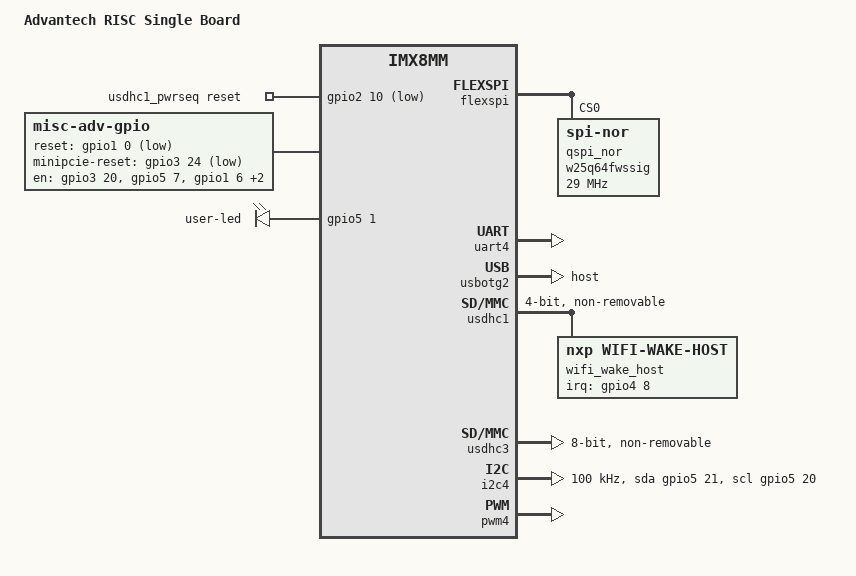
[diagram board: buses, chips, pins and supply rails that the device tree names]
// SPDX-License-Identifier: (GPL-2.0+ OR MIT)
/*
 * Copyright 2019-2020 NXP
 */

/dts-v1/;

#include <dt-bindings/usb/pd.h>
#include "imx8mm-ebcrs20-a1.dtsi"

/ {
	model = "Advantech RISC Single Board";
	compatible = "fsl,imx8mm-evk", "fsl,imx8mm";

	board {
		compatible = "proc-board";
		board-type = "ebc-rs20 A1";
		board-cpu = "IMX8MM";
	};

	aliases {
                rtc0 = &s35390a;
                rtc1 = &snvs_rtc;
	};

	// uart1_mod_reset: uart1-mod-reset {
	// 	compatible = "gpio-reset";
	// 	reset-gpios = <&gpio2 6 GPIO_ACTIVE_LOW>;
	// 	reset-delay-us = <2000>;
	// 	reset-post-delay-ms = <40>;
	// 	#reset-cells = <0>;
	// };

	// sd1_mod_reset: sd1-mod-reset {
	// 	compatible = "gpio-reset";
	// 	reset-gpios = <&gpio2 10 GPIO_ACTIVE_LOW>;
	// 	reset-delay-us = <2000>;
	// 	reset-post-delay-ms = <40>;
	// 	#reset-cells = <0>;
	// };

	// reg_sd1_vmmc: sd1_regulator {
	// 	compatible = "regulator-fixed";
	// 	regulator-name = "WLAN_EN";
	// 	regulator-min-microvolt = <3300000>;
	// 	regulator-max-microvolt = <3300000>;
	// 	gpio = <&gpio2 10 GPIO_ACTIVE_HIGH>;
	// 	off-on-delay-us = <20000>;
	// 	startup-delay-us = <100>;
	// 	enable-active-high;
	// };

	usdhc1_pwrseq: usdhc1_pwrseq {
		compatible = "mmc-pwrseq-simple";
		reset-gpios = <&gpio2 10 GPIO_ACTIVE_LOW>;
		post-power-on-delay-ms = <100>;
	};

	// reg_usb_otg1_vbus: regulator-vbus {
	// 	compatible = "regulator-fixed";
	// 	regulator-name = "usb_otg1_vbus";
	// 	regulator-min-microvolt = <5000000>;
	// 	regulator-max-microvolt = <5000000>;
	// 	gpio = <&gpio5 7 GPIO_ACTIVE_HIGH>;
	// 	enable-active-high;
	// };

        // sound {
        //         compatible = "fsl,sgtl5000",
        //                      "fsl,imx-audio-sgtl5000";
        //         model = "sgtl5000";
        //         codec-master;
        //         ssi-controller = <&sai1>;
        //         audio-codec = <&codec>;
        //         audio-routing =
        //                 "MIC_IN", "Mic Jack",
        //                 "Mic Jack", "Mic Bias",
        //                 "Headphone Jack", "HP_OUT";
        //         no-audmux;
        // };

	rt5640-sound0 {
		compatible = "simple-audio-card";
		simple-audio-card,format = "i2s";
		simple-audio-card,name = "nxp,rt5640-codec";
		simple-audio-card,mclk-fs = <512>;
		// simple-audio-card,mclk-fs = <256>;
		status = "okay";

		simple-audio-card,widgets =
			"Microphone", "Microphone Jack",
			"Headphone", "Headphone Jack";
		simple-audio-card,routing =
			"IN1P", "Microphone Jack",
			"Microphone Jack", "MICBIAS1",
			"Headphone Jack", "HPOL",
			"Headphone Jack", "HPOR";

		simple-audio-card,cpu {
			sound-dai = <&sai1>;
			bitclock-master;
			frame-master;
		};
		simple-audio-card,codec {
			sound-dai = <&rt5640_a0>;
		};
	};

        // uart3_mode:uart3-mode {
        //         compatible = "uart-mode";
        //         status = "okay";

        //         index = <2>;
        //         default_mode = <0>;//RS232
        //         rs232_mode_table = <1 0 1>;
        //         rs485_mode_table = <0 1 1>;

        //         sel0_gpio = <&gpio5 1 GPIO_ACTIVE_HIGH>;
        //         sel1_gpio = <&gpio5 4 GPIO_ACTIVE_HIGH>;
        //         term_gpio = <&gpio4 29 GPIO_ACTIVE_HIGH>;
        // };

	misc-adv-gpio {
		compatible = "misc-adv-gpio";
		pinctrl-names = "default";
		pinctrl-0 = <&adv_gpio_pinmux>;
		status = "okay";
		reset-gpios = <&gpio1 0 GPIO_ACTIVE_LOW>;
		reset-delay = <50>;
		minipcie-reset-gpio = <&gpio3 24 GPIO_ACTIVE_LOW>;
		en-gpios =<&gpio3 20 GPIO_ACTIVE_HIGH>,<&gpio5 7 GPIO_ACTIVE_HIGH>,
			    <&gpio1 6 GPIO_ACTIVE_HIGH>,<&gpio3 22 GPIO_ACTIVE_LOW>,<&gpio3 23 GPIO_ACTIVE_HIGH>;
		timing-interval = <300>;
	};

	leds {
		compatible = "gpio-leds";
        pinctrl-names = "default";
        pinctrl-0 = <&pinctrl_led>;

        led-user {
            label = "user-led";
            gpios = <&gpio5 1 GPIO_ACTIVE_HIGH>;
            default-state = "on";
        };
	};
};

&snvs_rtc {
	status = "disabled";
};

&flexspi {
	pinctrl-names = "default";
	pinctrl-0 = <&pinctrl_flexspi>;
	status = "okay";

	qspi_nor: w25q64fwssig@0 {
                reg = <0>;
                #address-cells = <1>;
                #size-cells = <1>;
                compatible = "jedec,spi-nor", "winbond,w25q64";
                spi-max-frequency = <29000000>;
                spi-nor,quad-read = <4>;
        };
};

&uart4 { /* M4 debug */
	pinctrl-names = "default";
	pinctrl-0 = <&pinctrl_uart4>;
	en-gpio = <&gpio5 6 GPIO_ACTIVE_HIGH>;
	status = "okay";
};

&usbotg2 {
	dr_mode = "host";

	status = "okay";
};

&usdhc1 { /* wifi bt */
	pinctrl-names = "default", "state_100mhz", "state_200mhz";
	pinctrl-0 = <&pinctrl_usdhc1>, <&pinctrl_usdhc1_gpio>;
	pinctrl-1 = <&pinctrl_usdhc1_100mhz>, <&pinctrl_usdhc1_gpio>;
	pinctrl-2 = <&pinctrl_usdhc1_200mhz>, <&pinctrl_usdhc1_gpio>;
	bus-width = <4>;
	// vmmc-supply = <&reg_sd1_vmmc>;
	// resets = <&sd1_mod_reset>;
	pm-ignore-notify;
	keep-power-in-suspend;
	non-removable;

	fsl,sdio-async-interrupt-enabled;
	wakeup-source;
	mmc-pwrseq = <&usdhc1_pwrseq>;
	keep-power-in-suspend;
	wifi-pwr-en-gpios = <&gpio4 1 GPIO_ACTIVE_HIGH>;
	wifi-pdn-gpios = <&gpio2 7 GPIO_ACTIVE_HIGH>;

	status = "okay";

	wifi_wake_host {
		compatible = "nxp,wifi-wake-host";
		interrupt-parent = <&gpio4>;
		interrupts = <8 IRQ_TYPE_LEVEL_LOW>;
		interrupt-names = "host-wake";
	};
};

&usdhc3 {
	assigned-clocks = <&clk IMX8MM_CLK_USDHC3_ROOT>;
	assigned-clock-rates = <400000000>;
	pinctrl-names = "default", "state_100mhz", "state_200mhz";
	pinctrl-0 = <&pinctrl_usdhc3>;
	pinctrl-1 = <&pinctrl_usdhc3_100mhz>;
	pinctrl-2 = <&pinctrl_usdhc3_200mhz>;
	bus-width = <8>;
	non-removable;
	cqe-disabled;
	status = "okay";
};

&i2c4 {
	clock-frequency = <100000>;
	pinctrl-names = "default", "gpio";
	pinctrl-0 = <&pinctrl_i2c4>;
	pinctrl-1 = <&pinctrl_i2c4_gpio>;
	scl-gpios = <&gpio5 20 GPIO_ACTIVE_HIGH>;
	sda-gpios = <&gpio5 21 GPIO_ACTIVE_HIGH>;
	status = "okay";

	// 24c32@50 {
    //             compatible = "atmel,24c32";
    //             reg = <0x50>;
    //     };
};

&pwm4 {
        status = "disabled";
        pinctrl-names = "default";
        pinctrl-0 = <&pinctrl_pwm4>;
		status = "okay";
};

&iomuxc {
        pinctrl_hog: hoggrp {
		fsl,pins = <
			MX8MM_IOMUXC_ECSPI2_MOSI_GPIO5_IO11		0x116	/* MAC_RXER */
			MX8MM_IOMUXC_SAI3_RXFS_GPIO4_IO28		0x116	/* VDD_1V8_EN */

			MX8MM_IOMUXC_SD1_STROBE_GPIO2_IO11	0x116	/* VDD_CORE_EN */
			MX8MM_IOMUXC_SAI1_RXFS_GPIO4_IO0	0x116	/* COLD_RST_EN */

			MX8MM_IOMUXC_UART1_TXD_GPIO5_IO23	0x116	/* USB_EN_D_OC */
			MX8MM_IOMUXC_UART2_RXD_GPIO5_IO24	0x116	/* HUB_RESET_GPIO */
			MX8MM_IOMUXC_UART2_TXD_GPIO5_IO25	0x116	/* +V12_EN */
			MX8MM_IOMUXC_ECSPI1_MISO_GPIO5_IO8	0x116	/* V3.3_EN_GPIO */
			MX8MM_IOMUXC_ECSPI1_SS0_GPIO5_IO9	0x116	/* CAN_RST# */
			MX8MM_IOMUXC_GPIO1_IO01_GPIO1_IO1	0x116	/* USB_5V_C_EN */
			MX8MM_IOMUXC_GPIO1_IO05_GPIO1_IO5	0x116	/* WAKE_INT */

			// MX8MM_IOMUXC_SAI1_TXD1_GPIO4_IO13	0x116	/* SAI1_TXD1 BOOT_CFG9 */
			// MX8MM_IOMUXC_SAI1_TXD2_GPIO4_IO14	0x116	/* SAI1_TXD2 BOOT_CFG10 */
			// MX8MM_IOMUXC_SAI1_TXD3_GPIO4_IO15	0x116	/* SAI1_TXD3 BOOT_CFG11 */
			// MX8MM_IOMUXC_SAI1_TXD4_GPIO4_IO16	0x116	/* SAI1_TXD4 BOOT_CFG12 */
			// MX8MM_IOMUXC_SAI1_TXD6_GPIO4_IO18	0x116	/* SAI1_TXD6 BOOT_CFG14 */
			// MX8MM_IOMUXC_SAI1_RXD1_GPIO4_IO3	0x116	/* SAI1_RXD1 BOOT_CFG1 */
			// MX8MM_IOMUXC_SAI1_RXD2_GPIO4_IO4	0x116	/* SAI1_RXD2 BOOT_CFG2 */
			// MX8MM_IOMUXC_SAI1_RXD3_GPIO4_IO5	0x116	/* SAI1_RXD3 BOOT_CFG3 */
			// MX8MM_IOMUXC_SAI1_RXD5_GPIO4_IO7	0x116	/* SAI1_RXD5 BOOT_CFG5 */

			MX8MM_IOMUXC_GPIO1_IO12_GPIO1_IO12	0x19		/* GPIO1_R */
			MX8MM_IOMUXC_GPIO1_IO14_GPIO1_IO14	0x19		/* GPIO2_R */
		>;
	};

	pinctrl_i2c4: i2c4grp {
		fsl,pins = <
			MX8MM_IOMUXC_I2C4_SCL_I2C4_SCL			0x400001c3	/* I2C_GP_CK */
			MX8MM_IOMUXC_I2C4_SDA_I2C4_SDA			0x400001c3	/* I2C_GP_DAT */
		>;
	};

	pinctrl_i2c4_gpio: i2c4_gpio_grp {
		fsl,pins = <
			MX8MM_IOMUXC_I2C4_SCL_GPIO5_IO20		0x19
			MX8MM_IOMUXC_I2C4_SDA_GPIO5_IO21		0x19
		>;
	};

	pinctrl_uart4: uart4grp {
		fsl,pins = <
			MX8MM_IOMUXC_UART4_RXD_UART4_DCE_RX	0x140
			MX8MM_IOMUXC_UART4_TXD_UART4_DCE_TX	0x140
		>;
	};

	pinctrl_flexspi: flexspigrp {
		fsl,pins = <
			MX8MM_IOMUXC_NAND_ALE_QSPI_A_SCLK               0x1c2
			MX8MM_IOMUXC_NAND_CE0_B_QSPI_A_SS0_B            0x82
			MX8MM_IOMUXC_NAND_DATA00_QSPI_A_DATA0           0x82
			MX8MM_IOMUXC_NAND_DATA01_QSPI_A_DATA1           0x82
			MX8MM_IOMUXC_NAND_DATA02_QSPI_A_DATA2           0x82
			MX8MM_IOMUXC_NAND_DATA03_QSPI_A_DATA3           0x82
		>;
	};

	pinctrl_usdhc1_gpio: usdhc1grpgpio {
		fsl,pins = <
			MX8MM_IOMUXC_SD1_RESET_B_GPIO2_IO10		0x41	/* W_WLAN_RST_1V8 */
			MX8MM_IOMUXC_SD1_DATA7_GPIO2_IO9		0x41	/* W_BT_RST_1V8 */

			MX8MM_IOMUXC_SAI1_RXD6_GPIO4_IO8		0x41	/* W_BT/15.4_WAKE_OUT_1V8 */
			MX8MM_IOMUXC_SAI1_RXD4_GPIO4_IO6		0x41	/* W_BT/15.4_WAKE_IN_1V8 */
			MX8MM_IOMUXC_SAI1_TXD5_GPIO4_IO17		0x41	/* W_WLAN_WAKE_IN_1V8 */
			MX8MM_IOMUXC_SAI2_MCLK_GPIO4_IO27		0x41	/* W_WLAN_WAKE_OUT_1V8 */

			MX8MM_IOMUXC_SD1_DATA4_GPIO2_IO6		0x41	/* SD1_INT */

			MX8MM_IOMUXC_GPIO1_IO08_GPIO1_IO8		0x41    /* W_WCI-2_OUT_1V8 */
			MX8MM_IOMUXC_SAI2_TXD0_GPIO4_IO26		0x41    /* W_WCI-2_IN_1V8 */
			MX8MM_IOMUXC_SD1_DATA5_GPIO2_IO7		0x41    /* W_PDN_3V3 */

			MX8MM_IOMUXC_SAI1_RXC_GPIO4_IO1		    0x41	/* WIFI_PWR_EN */
			MX8MM_IOMUXC_SAI2_TXC_GPIO4_IO25	    0x41	/* W_VDD_1V8_EN */
		>;
	};

	pinctrl_usdhc1: usdhc1grp {
		fsl,pins = <
			MX8MM_IOMUXC_SD1_CLK_USDHC1_CLK		0x190
			MX8MM_IOMUXC_SD1_CMD_USDHC1_CMD		0x1d0
			MX8MM_IOMUXC_SD1_DATA0_USDHC1_DATA0	0x1d0
			MX8MM_IOMUXC_SD1_DATA1_USDHC1_DATA1	0x1d0
			MX8MM_IOMUXC_SD1_DATA2_USDHC1_DATA2	0x1d0
			MX8MM_IOMUXC_SD1_DATA3_USDHC1_DATA3	0x1d0
		>;
	};

	pinctrl_usdhc1_100mhz: usdhc1grp100mhz {
		fsl,pins = <
			MX8MM_IOMUXC_SD1_CLK_USDHC1_CLK		0x194
			MX8MM_IOMUXC_SD1_CMD_USDHC1_CMD		0x1d4
			MX8MM_IOMUXC_SD1_DATA0_USDHC1_DATA0	0x1d4
			MX8MM_IOMUXC_SD1_DATA1_USDHC1_DATA1	0x1d4
			MX8MM_IOMUXC_SD1_DATA2_USDHC1_DATA2	0x1d4
			MX8MM_IOMUXC_SD1_DATA3_USDHC1_DATA3	0x1d4
		>;
	};

	pinctrl_usdhc1_200mhz: usdhc1grp200mhz {
		fsl,pins = <
			MX8MM_IOMUXC_SD1_CLK_USDHC1_CLK		0x196
			MX8MM_IOMUXC_SD1_CMD_USDHC1_CMD		0x1d6
			MX8MM_IOMUXC_SD1_DATA0_USDHC1_DATA0	0x1d6
			MX8MM_IOMUXC_SD1_DATA1_USDHC1_DATA1	0x1d6
			MX8MM_IOMUXC_SD1_DATA2_USDHC1_DATA2	0x1d6
			MX8MM_IOMUXC_SD1_DATA3_USDHC1_DATA3	0x1d6
		>;
	};

	pinctrl_usdhc3: usdhc3grp {
		fsl,pins = <
			MX8MM_IOMUXC_NAND_WE_B_USDHC3_CLK		0x190	/* SD3_CLK */
			MX8MM_IOMUXC_NAND_WP_B_USDHC3_CMD		0x1d0	/* SD3_CMD */
			MX8MM_IOMUXC_NAND_DATA04_USDHC3_DATA0		0x1d0	/* SD3_DATA0 */
			MX8MM_IOMUXC_NAND_DATA05_USDHC3_DATA1		0x1d0	/* SD3_DATA1 */
			MX8MM_IOMUXC_NAND_DATA06_USDHC3_DATA2		0x1d0	/* SD3_DATA2 */
			MX8MM_IOMUXC_NAND_DATA07_USDHC3_DATA3		0x1d0	/* SD3_DATA3 */
			MX8MM_IOMUXC_NAND_RE_B_USDHC3_DATA4		0x1d0	/* SD3_DATA4 */
			MX8MM_IOMUXC_NAND_CE2_B_USDHC3_DATA5		0x1d0	/* SD3_DATA5 */
			MX8MM_IOMUXC_NAND_CE3_B_USDHC3_DATA6		0x1d0	/* SD3_DATA6 */
			MX8MM_IOMUXC_NAND_CLE_USDHC3_DATA7		0x1d0	/* SD3_DATA7 */
			MX8MM_IOMUXC_NAND_CE1_B_USDHC3_STROBE 		0x190	/* SD3_STORBE */
		>;
	};

	pinctrl_usdhc3_100mhz: usdhc3-100mhzgrp {
		fsl,pins = <
			MX8MM_IOMUXC_NAND_WE_B_USDHC3_CLK               0x194
			MX8MM_IOMUXC_NAND_WP_B_USDHC3_CMD               0x1d4
			MX8MM_IOMUXC_NAND_DATA04_USDHC3_DATA0           0x1d4
			MX8MM_IOMUXC_NAND_DATA05_USDHC3_DATA1           0x1d4
			MX8MM_IOMUXC_NAND_DATA06_USDHC3_DATA2           0x1d4
			MX8MM_IOMUXC_NAND_DATA07_USDHC3_DATA3           0x1d4
			MX8MM_IOMUXC_NAND_RE_B_USDHC3_DATA4             0x1d4
			MX8MM_IOMUXC_NAND_CE2_B_USDHC3_DATA5            0x1d4
			MX8MM_IOMUXC_NAND_CE3_B_USDHC3_DATA6            0x1d4
			MX8MM_IOMUXC_NAND_CLE_USDHC3_DATA7              0x1d4
			MX8MM_IOMUXC_NAND_CE1_B_USDHC3_STROBE           0x194
		>;
	};

	pinctrl_usdhc3_200mhz: usdhc3-200mhzgrp {
		fsl,pins = <
			MX8MM_IOMUXC_NAND_WE_B_USDHC3_CLK               0x196
			MX8MM_IOMUXC_NAND_WP_B_USDHC3_CMD               0x1d6
			MX8MM_IOMUXC_NAND_DATA04_USDHC3_DATA0           0x1d6
			MX8MM_IOMUXC_NAND_DATA05_USDHC3_DATA1           0x1d6
			MX8MM_IOMUXC_NAND_DATA06_USDHC3_DATA2           0x1d6
			MX8MM_IOMUXC_NAND_DATA07_USDHC3_DATA3           0x1d6
			MX8MM_IOMUXC_NAND_RE_B_USDHC3_DATA4             0x1d6
			MX8MM_IOMUXC_NAND_CE2_B_USDHC3_DATA5            0x1d6
			MX8MM_IOMUXC_NAND_CE3_B_USDHC3_DATA6            0x1d6
			MX8MM_IOMUXC_NAND_CLE_USDHC3_DATA7              0x1d6
			MX8MM_IOMUXC_NAND_CE1_B_USDHC3_STROBE           0x196
		>;
	};

	pinctrl_pwm4: pwm4grp {
		fsl,pins = <
			MX8MM_IOMUXC_SAI3_MCLK_PWM4_OUT         0x06	/* LCD0_BKLT_PWM */
		>;
	};

	pinctrl_led: led_usr {
		fsl,pins = <
			MX8MM_IOMUXC_SAI3_TXD_GPIO5_IO1			0x116	/* LED */
		>;
	};

	adv_gpio_pinmux: advgpio {
		fsl,pins = <
			MX8MM_IOMUXC_SAI5_RXFS_GPIO3_IO19		0x116	/* EAR_PHONE_SHDN */	
			MX8MM_IOMUXC_SAI5_RXC_GPIO3_IO20		0x116	/* AUDIO_GAN1 */
			MX8MM_IOMUXC_ECSPI1_MOSI_GPIO5_IO7		0x116	/* AUDIO_GAN0 */
			MX8MM_IOMUXC_SAI3_RXC_GPIO4_IO29		0x116	/* AMP_MUTE */

			MX8MM_IOMUXC_GPIO1_IO00_GPIO1_IO0		0x116	/* CH334_RST GPIO11 */

			MX8MM_IOMUXC_GPIO1_IO06_GPIO1_IO6		0x41    /* MINICARD_PWR_EN */
			MX8MM_IOMUXC_SAI5_RXD1_GPIO3_IO22		0x41    /* MINICARD_DET# */
			MX8MM_IOMUXC_SAI5_RXD2_GPIO3_IO23		0x41    /* MINICARD_W_DIS# */
			MX8MM_IOMUXC_SAI5_RXD3_GPIO3_IO24		0x41    /* MINICARD_RESET# */

			MX8MM_IOMUXC_SAI5_RXD0_GPIO3_IO21		0x41    /* TCA9545A_RST# */
			MX8MM_IOMUXC_ECSPI2_SCLK_GPIO5_IO10		0x116	/* RS485_RST */ /* CP2105_RST */
			MX8MM_IOMUXC_SPDIF_EXT_CLK_GPIO5_IO5	0x116	/* GPIO_RST# */ /* TCA9538 */
		>;
	};
};
